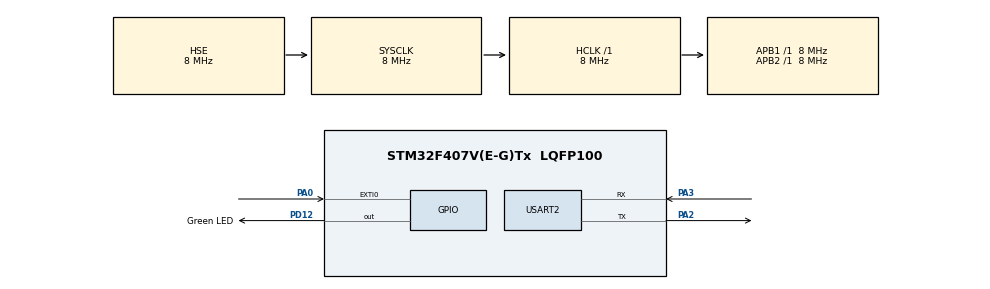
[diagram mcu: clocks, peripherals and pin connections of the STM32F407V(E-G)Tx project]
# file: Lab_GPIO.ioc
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Dma.Request0=USART2_RX
Dma.Request1=USART2_TX
Dma.USART2_RX.0.Direction=DMA_PERIPH_TO_MEMORY
Dma.USART2_RX.0.FIFOMode=DMA_FIFOMODE_DISABLE
Dma.USART2_RX.0.Instance=DMA1_Stream5
Dma.USART2_RX.0.MemDataAlignment=DMA_MDATAALIGN_BYTE
Dma.USART2_RX.0.MemInc=DMA_MINC_ENABLE
Dma.USART2_RX.0.Mode=DMA_NORMAL
Dma.USART2_RX.0.PeriphDataAlignment=DMA_PDATAALIGN_BYTE
Dma.USART2_RX.0.PeriphInc=DMA_PINC_DISABLE
Dma.USART2_RX.0.Priority=DMA_PRIORITY_VERY_HIGH
Dma.USART2_TX.1.Direction=DMA_MEMORY_TO_PERIPH
Dma.USART2_TX.1.FIFOMode=DMA_FIFOMODE_DISABLE
Dma.USART2_TX.1.Instance=DMA1_Stream6
Dma.USART2_TX.1.MemDataAlignment=DMA_MDATAALIGN_BYTE
Dma.USART2_TX.1.MemInc=DMA_MINC_ENABLE
Dma.USART2_TX.1.Mode=DMA_NORMAL
Dma.USART2_TX.1.PeriphDataAlignment=DMA_PDATAALIGN_BYTE
Dma.USART2_TX.1.PeriphInc=DMA_PINC_DISABLE
Dma.USART2_TX.1.Priority=DMA_PRIORITY_VERY_HIGH
FREERTOS.HEAP_NUMBER=2
FREERTOS.Tasks01=defaultTask,0,128,StartDefaultTask,Default,NULL,Dynamic,NULL,NULL
FREERTOS.configTICK_RATE_HZ=100
Mcu.Family=STM32F4
Mcu.Name=STM32F407V(E-G)Tx
Mcu.Package=LQFP100
NVIC.DMA1_Stream5_IRQn=true\:5\:0\:false\:false\:true\:true\:false\:true\:true
NVIC.DMA1_Stream6_IRQn=true\:5\:0\:false\:false\:true\:true\:false\:true\:true
NVIC.EXTI0_IRQn=true\:5\:0\:false\:false\:true\:true\:true\:true\:true
NVIC.PriorityGroup=NVIC_PRIORITYGROUP_4
NVIC.USART2_IRQn=true\:5\:0\:false\:false\:true\:true\:true\:true\:true
PA0-WKUP.Signal=GPXTI0
PA2.Mode=Asynchronous
PA2.Signal=USART2_TX
PA3.Mode=Asynchronous
PA3.Signal=USART2_RX
PD12.GPIO_Label=Green LED
PD12.GPIO_Speed=GPIO_SPEED_FREQ_VERY_HIGH
PD12.PinState=GPIO_PIN_RESET
PD12.Signal=GPIO_Output
PH0-OSC_IN.Mode=HSE-External-Oscillator
PH0-OSC_IN.Signal=RCC_OSC_IN
PH1-OSC_OUT.Mode=HSE-External-Oscillator
PH1-OSC_OUT.Signal=RCC_OSC_OUT
ProjectManager.HeapSize=0x200
ProjectManager.StackSize=0x400
ProjectManager.TargetToolchain=Makefile
RCC.48MHZClocksFreq_Value=32000000
RCC.AHBFreq_Value=8000000
RCC.APB1Freq_Value=8000000
RCC.APB1TimFreq_Value=8000000
RCC.APB2Freq_Value=8000000
RCC.APB2TimFreq_Value=8000000
RCC.CortexFreq_Value=8000000
RCC.HCLKFreq_Value=8000000
RCC.HSE_VALUE=8000000
RCC.HSI_VALUE=16000000
RCC.LSE_VALUE=32768
RCC.PLLM=4
RCC.PLLN=64
RCC.PLLSourceVirtual=RCC_PLLSOURCE_HSE
RCC.SYSCLKFreq_VALUE=8000000
RCC.SYSCLKSource=RCC_SYSCLKSOURCE_HSE
RCC.VCOOutputFreq_Value=128000000
USART2.VirtualMode=VM_ASYNC
VP_FREERTOS_VS_CMSIS_V1.Mode=CMSIS_V1
board=custom

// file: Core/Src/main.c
/* USER CODE BEGIN Header */
/**
  ******************************************************************************
  * @file           : main.c
  * @brief          : Main program body
  ******************************************************************************
  * @attention
  *
  * Copyright (c) 2023 STMicroelectronics.
  * All rights reserved.
  *
  * This software is licensed under terms that can be found in the LICENSE file
  * in the root directory of this software component.
  * If no LICENSE file comes with this software, it is provided AS-IS.
  *
  ******************************************************************************
  */
/* USER CODE END Header */
#include "main.h"
#include "cmsis_os.h"
#include "dma.h"
#include "usart.h"
#include "gpio.h"

/* USER CODE BEGIN Includes */
#include "FreeRTOS.h"
#include "task.h"
#include <string.h>

/* USER CODE END Includes */

/* USER CODE BEGIN PD */
#define RX_NEWLINE '\r'
#define TX_NEWLINE "\r\n"
/* USER CODE END PD */

/* USER CODE BEGIN PV */
xTaskHandle vTaskHandleHeartBeat, vTaskHandleUARTControls, vTaskHandlePlayback;
uint8_t buttonPressed;
uint32_t frequency;
/* USER CODE END PV */

void SystemClock_Config(void);

void MX_FREERTOS_Init(void);

/* USER CODE BEGIN PFP */
void vTaskHeartBeat(void *pvParameters);

void vTaskUARTControls(void *pvParameters);

void vTaskPlayback(void *pvParameters);
/* USER CODE END PFP */

/* USER CODE BEGIN 0 */

int check_password(char line[60]);

/* main .c */
void HAL_GPIO_EXTI_Callback(uint16_t GPIO_Pin) {
    if (GPIO_Pin == USER_BUTTON_PIN) {
        HAL_NVIC_DisableIRQ(EXTI0_IRQn);
        buttonPressed = 1;
        HAL_NVIC_EnableIRQ(EXTI0_IRQn);
    } else {
        __NOP();
    }
}
/* USER CODE END 0 */

int main(void) {
    /* USER CODE BEGIN 1 */
    buttonPressed = 0;
    frequency = 440;

    /* USER CODE END 1 */

    /* MCU Configuration--------------------------------------------------------*/

    /* Reset of all peripherals, Initializes the Flash interface and the Systick. */
    HAL_Init();

    /* Configure the system clock */
    SystemClock_Config();

    /* Initialize all configured peripherals */
    MX_GPIO_Init();
    MX_DMA_Init();
    MX_USART2_UART_Init();
    /* USER CODE BEGIN 2 */

    HAL_UART_Receive_DMA(&huart2, rx_data, 1);
    xTaskCreate(vTaskHeartBeat,
                "TASK HEARTBEAT",
                configMINIMAL_STACK_SIZE,
                NULL,
                5,
                &vTaskHandleHeartBeat);
    xTaskCreate(vTaskUARTControls,
                "TASK CONTROLS",
                configMINIMAL_STACK_SIZE,
                NULL,
                5,
                &vTaskHandleUARTControls);
    /* USER CODE END 2 */

    /* Call init function for freertos objects (in freertos.c) */
    MX_FREERTOS_Init();

    /* Start scheduler */
    osKernelStart();

    /* We should never get here as control is now taken by the scheduler */
    /* Infinite loop */
    while (1) {

    }
}

void SystemClock_Config(void) {
    RCC_OscInitTypeDef RCC_OscInitStruct = {0};
    RCC_ClkInitTypeDef RCC_ClkInitStruct = {0};

    /** Configure the main internal regulator output voltage
    */
    __HAL_RCC_PWR_CLK_ENABLE();
    __HAL_PWR_VOLTAGESCALING_CONFIG(PWR_REGULATOR_VOLTAGE_SCALE1);

    /** Initializes the RCC Oscillators according to the specified parameters
    * in the RCC_OscInitTypeDef structure.
    */
    RCC_OscInitStruct.OscillatorType = RCC_OSCILLATORTYPE_HSE;
    RCC_OscInitStruct.HSEState = RCC_HSE_ON;
    RCC_OscInitStruct.PLL.PLLState = RCC_PLL_NONE;
    if (HAL_RCC_OscConfig(&RCC_OscInitStruct) != HAL_OK) {
        Error_Handler();
    }

    /** Initializes the CPU, AHB and APB buses clocks
    */
    RCC_ClkInitStruct.ClockType = RCC_CLOCKTYPE_HCLK | RCC_CLOCKTYPE_SYSCLK
                                  | RCC_CLOCKTYPE_PCLK1 | RCC_CLOCKTYPE_PCLK2;
    RCC_ClkInitStruct.SYSCLKSource = RCC_SYSCLKSOURCE_HSE;
    RCC_ClkInitStruct.AHBCLKDivider = RCC_SYSCLK_DIV1;
    RCC_ClkInitStruct.APB1CLKDivider = RCC_HCLK_DIV1;
    RCC_ClkInitStruct.APB2CLKDivider = RCC_HCLK_DIV1;

    if (HAL_RCC_ClockConfig(&RCC_ClkInitStruct, FLASH_LATENCY_0) != HAL_OK) {
        Error_Handler();
    }
}

/* USER CODE BEGIN 4 */

void vTaskHeartBeat(void *pvParameters) {
    const portTickType t1 = 100 / portTICK_PERIOD_MS;
    const portTickType t2 = 200 / portTICK_PERIOD_MS;
    const portTickType t3 = 100 / portTICK_PERIOD_MS;
    const portTickType t4 = 600 / portTICK_PERIOD_MS;

    gpio_led_state(LED4_GREEN_ID, 0);
    while (1) {
        gpio_led_state(LED4_GREEN_ID, 1);
        vTaskDelay(t1);
        gpio_led_state(LED4_GREEN_ID, 0);
        vTaskDelay(t2);
        gpio_led_state(LED4_GREEN_ID, 1);
        vTaskDelay(t3);
        gpio_led_state(LED4_GREEN_ID, 0);
        vTaskDelay(t4);
    }
}

void vTaskUARTControls(void *pvParameters) {
    char c;
    int line_tail;
    enum State state;
    char line[60] = {0};
    const char *welcome_msg = "\rLab 4: Programming industrial embedded systems. Please enter password:\r\n";

    line_tail = 0;
    state = AUTH;
    USART2_SendString(welcome_msg);
    while (1) {
        if (USART2_ReadChar(&c) != 0) {
            if (c == RX_NEWLINE) {
                USART2_SendString(TX_NEWLINE);
                vTaskDelay(500 / portTICK_PERIOD_MS);
                switch (state) {
                    case AUTH:
                        if (check_password(line)) {
                            state = CONTROL;
                            USART2_SendString("OK!\r\n");
                            xTaskCreate(vTaskPlayback,
                                        "TASK PLAYBACK",
                                        configMINIMAL_STACK_SIZE,
                                        NULL,
                                        1,
                                        &vTaskHandlePlayback);
                        } else {
                            USART2_SendString(welcome_msg);
                        }
                        break;
                    case CONTROL:
                        break;
                }
                line_tail = 0;
                memset(line, '\0', 60);
            } else {
                line[line_tail] = c;
                line_tail++;
                USART2_SendChar(c);
            }
        }
    };
}

void vTaskPlayback(void *pvParameters) {

};

int check_password(char input[60]) {
    const char *password = "36523763";
    return strcmp(input, password) == 0;
}

/* USER CODE END 4 */

void Error_Handler(void) {
    __disable_irq();
    while (1) {
    }
}
